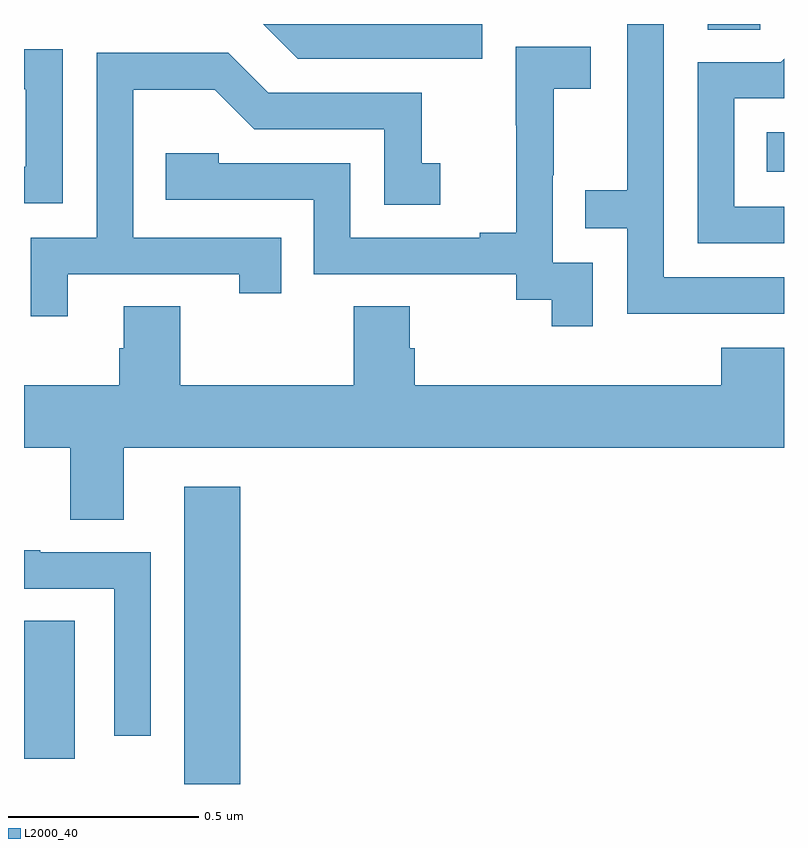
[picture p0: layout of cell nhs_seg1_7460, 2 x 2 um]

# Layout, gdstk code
import gdstk
lib = gdstk.Library(unit=1e-6, precision=1e-09)
def R(c, l, rs):  # rectangles x0, y0, x1, y1
    for r in rs: c.add(gdstk.rectangle(r[:2], r[2:], *l))
def P(c, l, *ps):  # polygons
    for p in ps: c.add(gdstk.Polygon(p, *l))
L2000_40 = (2000, 40)

nhs_seg1_7460 = lib.new_cell('nhs_seg1_7460')
R(nhs_seg1_7460, L2000_40, [(204.422,532.199,204.569,532.981), (204,532.266,204.133,532.628), (205.954,533.81,206,533.914), (205.799,534.184,205.938,534.199)])
P(nhs_seg1_7460, L2000_40, [(206,533.532),(205.683,533.532),(205.683,534.199),(205.587,534.199),(205.587,533.762),(205.477,533.762),(205.477,533.661),(205.587,533.661),(205.587,533.436),(206,533.436)],
  [(205.206,534.199),(204.629,534.199),(204.72,534.108),(205.206,534.108)],
  [(205.497,533.571),(205.392,533.571),(205.392,533.801),(205.394,533.801),(205.394,534.029),(205.492,534.029),(205.492,534.139),(205.294,534.139),(205.294,533.933),(205.295,533.933),(205.295,533.65),(205.199,533.65),(205.199,533.637),(204.858,533.637),(204.858,533.832),(204.513,533.832),(204.513,533.859),(204.373,533.859),(204.373,533.736),(204.762,533.736),(204.762,533.541),(205.296,533.541),(205.296,533.473),(205.389,533.473),(205.389,533.403),(205.497,533.403)],
  [(204.102,534.133),(204,534.133),(204,534.027),(204.005,534.027),(204.005,533.823),(204,533.823),(204,533.727),(204.102,533.727)],
  [(204.115,533.541),(204.566,533.541),(204.566,533.49),(204.677,533.49),(204.677,533.637),(204.288,533.637),(204.288,534.026),(204.502,534.026),(204.606,533.922),(204.948,533.922),(204.948,533.724),(205.096,533.724),(205.096,533.833),(205.047,533.833),(205.047,534.018),(204.643,534.018),(204.538,534.123),(204.192,534.123),(204.192,533.637),(204.018,533.637),(204.018,533.43),(204.115,533.43)],
  [(206,533.718),(205.869,533.718),(205.869,534.003),(206,534.003),(206,534.107),(205.992,534.099),(205.773,534.099),(205.773,533.622),(206,533.622)],
  [(204.262,533.084),(206,533.084),(206,533.347),(205.835,533.347),(205.835,533.248),(205.028,533.248),(205.028,533.346),(205.015,533.346),(205.015,533.456),(204.868,533.456),(204.868,533.248),(204.411,533.248),(204.411,533.456),(204.263,533.456),(204.263,533.346),(204.251,533.346),(204.251,533.248),(204,533.248),(204,533.084),(204.122,533.084),(204.122,532.894),(204.262,532.894)],
  [(204.333,532.809),(204.043,532.809),(204.043,532.814),(204,532.814),(204,532.713),(204.237,532.713),(204.237,532.326),(204.333,532.326)])

lib.write_gds('nhs_seg1_7460.gds')
